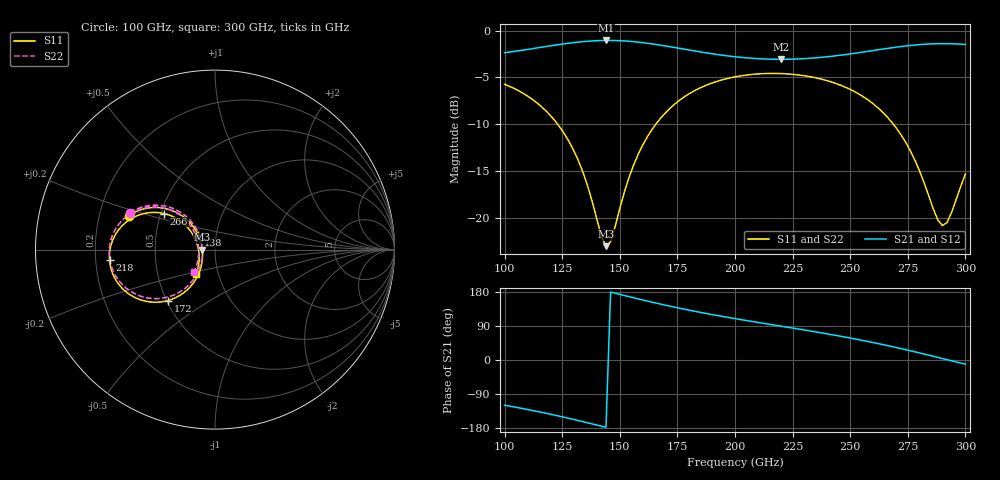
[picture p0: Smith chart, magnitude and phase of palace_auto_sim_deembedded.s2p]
! Created with skrf 1.11.0 (http://scikit-rf.org).
# GHz S DB R 50.0
!freq dBS11 angS11 dBS21 angS21 dBS12 angS12 dBS22 angS22
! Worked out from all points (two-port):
!   101 points, 100 GHz to 300 GHz, reference 50 ohm
!   highest |S21| = -1.05 dB at 144 GHz (marker M1); lowest = -3.1 dB at 220 GHz (marker M2)
!   |S21| within 3 dB of the highest: start of sweep to end of sweep
!   lowest |S11| = -23.0 dB at 144 GHz (marker M3), VSWR 1.15, Z = 43.4 - j0.0226 ohm
!   |S11| at or under -10 dB: 123 GHz to 165.6 GHz (42.59 GHz wide, 29.5 % of centre); 268.8 GHz to end of sweep
!   |S22| runs from -23.0 to -4.6 dB; largest |S21 - S12| = 1.4e-13
!   S11 on the Smith chart (normalised r, x): 100 GHz: 0.33, +0.17; 138 GHz: 0.82, +0.13; 172 GHz: 0.51, -0.34; 218 GHz: 0.26, -0.04; 266 GHz: 0.52, +0.24; 300 GHz: 0.78, -0.22
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100  -5.73 158.6  -2.36 -119.3  -2.36 -119.3  -5.74 156.6
120  -9.09 139.8  -1.62 -143.2  -1.62 -143.2  -9.10 137.4
128  -11.86 134.0  -1.34 -154.1  -1.34 -154.1  -11.87 131.4
134  -15.11 133.5  -1.18 -162.7  -1.18 -162.7  -15.12 130.8
138  -18.22 139.2  -1.11 -168.7  -1.11 -168.7  -18.23 136.4
144  -23.00 -179.8  -1.05 -177.7  -1.05 -177.7  -23.04 177.4
146  -22.53 -157.7  -1.05 179.2  -1.05 179.2  -22.56 -160.6
158  -13.19 -122.9  -1.23 161.2  -1.23 161.2  -13.20 -125.9
168  -9.26 -129.1  -1.57 147.1  -1.57 147.1  -9.27 -132.4
172  -8.24 -132.8  -1.73 141.7  -1.73 141.7  -8.25 -136.1
184  -6.22 -144.3  -2.24 126.8  -2.24 126.8  -6.23 -147.9
200  -4.94 -159.0  -2.79 109.2  -2.79 109.2  -4.95 -163.0
218  -4.58 -174.5  -3.06 91.2  -3.06 91.2  -4.59 -178.8
220  -4.59 -176.2  -3.06 89.2  -3.06 89.2  -4.60 179.5
234  -4.99 172.0  -2.93 75.2  -2.93 75.2  -5.00 167.3
252  -6.53 156.3  -2.42 55.7  -2.42 55.7  -6.54 151.3
266  -9.20 144.6  -1.91 38.3  -1.91 38.3  -9.21 139.3
268  -9.76 143.2  -1.84 35.6  -1.84 35.6  -9.78 137.9
278  -13.78 140.6  -1.54 21.7  -1.54 21.7  -13.80 135.0
290  -20.80 -175.2  -1.39 3.9  -1.39 3.9  -20.85 179.1
294  -19.41 -145.9  -1.40 -2.1  -1.40 -2.1  -19.45 -151.6
300  -15.30 -127.8  -1.48 -11.0  -1.48 -11.0  -15.32 -133.6
